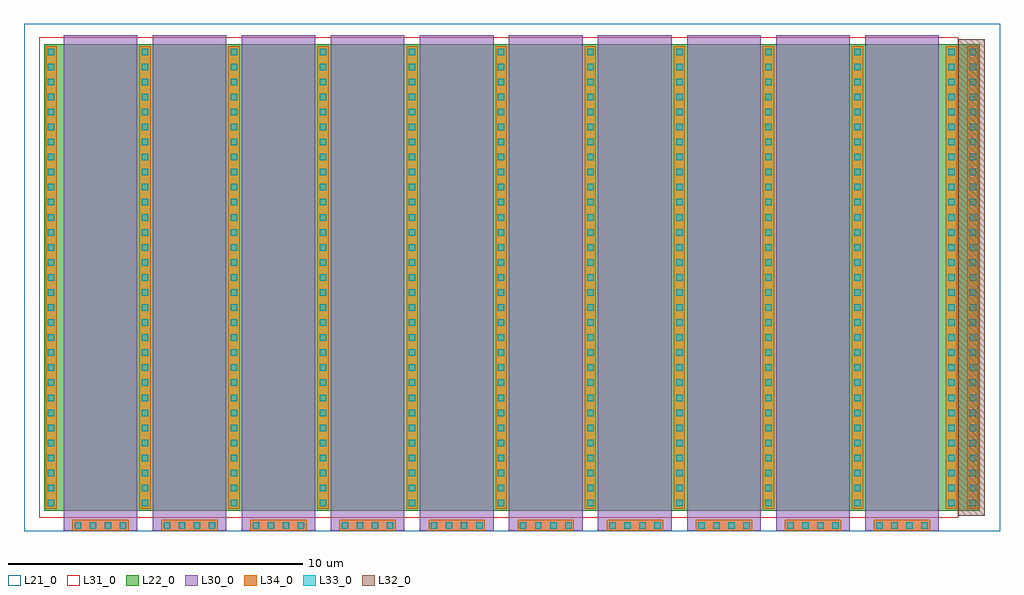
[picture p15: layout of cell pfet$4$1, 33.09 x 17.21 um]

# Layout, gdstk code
import gdstk
lib = gdstk.Library(unit=1e-6, precision=5e-09)
def R(c, l, rs):  # rectangles x0, y0, x1, y1
    for r in rs: c.add(gdstk.rectangle(r[:2], r[2:], *l))
def A(c, l, x, y, w, h, nx, ny, dx, dy):  # array of equal rectangles
    R(c, l, [(x+i*dx, y+j*dy, x+i*dx+w, y+j*dy+h) for i in range(nx) for j in range(ny)])
L21_0 = (21, 0)
L22_0 = (22, 0)
L30_0 = (30, 0)
L31_0 = (31, 0)
L32_0 = (32, 0)
L33_0 = (33, 0)
L34_0 = (34, 0)

pfet_4_1 = lib.new_cell('pfet$4$1')
R(pfet_4_1, L21_0, [(-1.15,-0.69,31.94,16.515)])
R(pfet_4_1, L22_0, [(-0.46,0,0,15.825), (0,0,30.06,15.825), (30.06,0,30.52,15.825), (30.52,0,31.25,15.825)])
A(pfet_4_1, L30_0, 0.19, -0.68, 2.5, 0.38, 10, 1, 3.02, 0)
A(pfet_4_1, L30_0, 0.19, -0.3, 2.5, 16.425, 10, 1, 3.02, 0)
R(pfet_4_1, L31_0, [(-0.63,-0.24,30.52,16.065)])
R(pfet_4_1, L32_0, [(30.52,-0.17,31.42,15.995)])
A(pfet_4_1, L33_0, 0.565, -0.6, 0.22, 0.22, 4, 1, 0.51, 0)
A(pfet_4_1, L33_0, 3.585, -0.6, 0.22, 0.22, 4, 1, 0.51, 0)
A(pfet_4_1, L33_0, 6.605, -0.6, 0.22, 0.22, 4, 1, 0.51, 0)
A(pfet_4_1, L33_0, 9.625, -0.6, 0.22, 0.22, 4, 1, 0.51, 0)
A(pfet_4_1, L33_0, 12.645, -0.6, 0.22, 0.22, 4, 1, 0.51, 0)
A(pfet_4_1, L33_0, 15.665, -0.6, 0.22, 0.22, 4, 1, 0.51, 0)
A(pfet_4_1, L33_0, 18.685, -0.6, 0.22, 0.22, 4, 1, 0.51, 0)
A(pfet_4_1, L33_0, 21.705, -0.6, 0.22, 0.22, 4, 1, 0.51, 0)
A(pfet_4_1, L33_0, 24.725, -0.6, 0.22, 0.22, 4, 1, 0.51, 0)
A(pfet_4_1, L33_0, 27.745, -0.6, 0.22, 0.22, 4, 1, 0.51, 0)
A(pfet_4_1, L33_0, -0.34, 0.155, 0.22, 0.22, 1, 31, 0, 0.51)
A(pfet_4_1, L33_0, 2.84, 0.155, 0.22, 0.22, 9, 31, 3.02, 0.51)
A(pfet_4_1, L33_0, 30.18, 0.155, 0.22, 0.22, 1, 31, 0, 0.51)
A(pfet_4_1, L33_0, 30.91, 0.155, 0.22, 0.22, 1, 31, 0, 0.51)
A(pfet_4_1, L34_0, 0.485, -0.68, 1.91, 0.38, 10, 1, 3.02, 0)
A(pfet_4_1, L34_0, 2.76, 0.075, 0.38, 15.68, 9, 1, 3.02, 0)
R(pfet_4_1, L34_0, [(-0.42,0.075,-0.04,15.755), (30.1,0.075,30.48,15.755), (30.83,0.075,31.21,15.755)])

lib.write_gds('pfet_4_1.gds')
